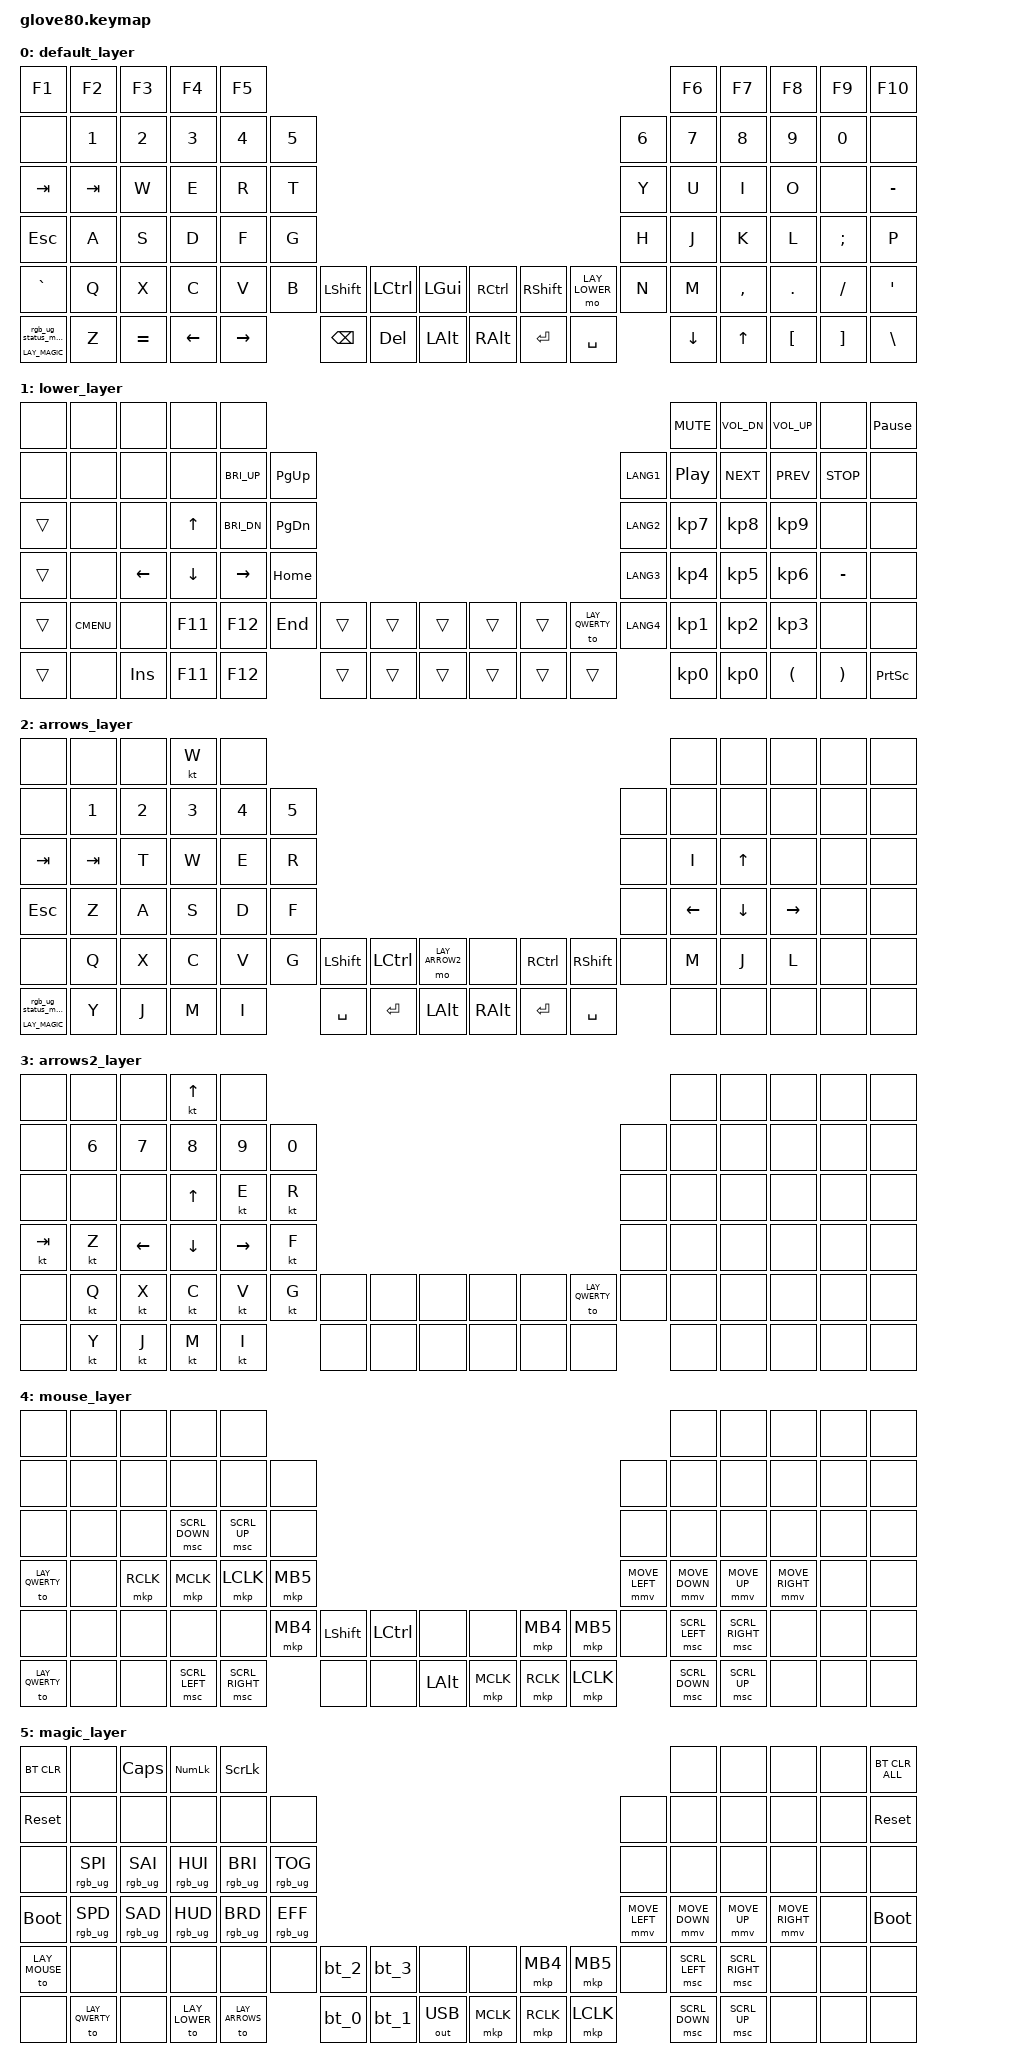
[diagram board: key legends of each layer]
/*
 * Copyright (c) 2020 The ZMK Contributors
 *
 * SPDX-License-Identifier: MIT
 */

#include <behaviors.dtsi>
#include <dt-bindings/zmk/keys.h>
#include <dt-bindings/zmk/bt.h>
#include <dt-bindings/zmk/ext_power.h>
#include <dt-bindings/zmk/outputs.h>
#include <dt-bindings/zmk/rgb.h>

// default: 600
#define ZMK_POINTING_DEFAULT_MOVE_VAL 600
// default: 10
#define ZMK_POINTING_DEFAULT_SCRL_VAL 10
#include <dt-bindings/zmk/pointing.h>

// layers
#define LAY_QWERTY 0
#define LAY_LOWER  1
#define LAY_ARROWS 2
#define LAY_ARROW2 3
#define LAY_MOUSE  4
#define LAY_MAGIC  5

/ {
    behaviors {
        // For the "layer" key, it'd nice to be able to use it as either a shift or a toggle.
        // Configure it as a tap dance, so the first tap (or hold) is a &mo and the second tap is a &to
        layer_td: tap_dance_0 {
            compatible = "zmk,behavior-tap-dance";
            label = "LAYER_TAP_DANCE";
            #binding-cells = <0>;
            tapping-term-ms = <200>;
            bindings = <&mo LAY_LOWER>, <&to LAY_LOWER>;
        };

        magic: magic_hold_tap {
            compatible = "zmk,behavior-hold-tap";
            label = "MAGIC_HOLD_TAP";
            #binding-cells = <2>;
            flavor = "tap-preferred";
            tapping-term-ms = <200>;
            bindings = <&mo>, <&rgb_ug_status_macro>;
        };
    };

    macros {
        rgb_ug_status_macro: rgb_ug_status_macro_0 {
            label = "RGB_UG_STATUS";
            compatible = "zmk,behavior-macro";
            #binding-cells = <0>;
            bindings
                = <&rgb_ug RGB_STATUS>;
        };

        bt_0: bt_profile_macro_0 {
            label = "BT_0";
            compatible = "zmk,behavior-macro";
            #binding-cells = <0>;
            bindings
                = <&out OUT_BLE>,
                  <&bt BT_SEL 0>;
        };

        bt_1: bt_profile_macro_1 {
            label = "BT_1";
            compatible = "zmk,behavior-macro";
            #binding-cells = <0>;
            bindings
                = <&out OUT_BLE>,
                  <&bt BT_SEL 1>;
        };

        bt_2: bt_profile_macro_2 {
            label = "BT_2";
            compatible = "zmk,behavior-macro";
            #binding-cells = <0>;
            bindings
                = <&out OUT_BLE>,
                  <&bt BT_SEL 2>;
        };

        bt_3: bt_profile_macro_3 {
            label = "BT_3";
            compatible = "zmk,behavior-macro";
            #binding-cells = <0>;
            bindings
                = <&out OUT_BLE>,
                  <&bt BT_SEL 3>;
        };
    };

    keymap {
        compatible = "zmk,keymap";

        default_layer {            //default       //default       //default       //default       //default       //default //default //default    | //default //default //default       //default      //default      //default       //default       //default  //default
                //C6L              //C5L           //C4L           //C3L           //C2L           //C1L           //T1L     //T2L     //T3L        | //T3R     //T2R     //T1R           //C1R          //C2R          //C3R           //C4R           //C5R      //C6R
            bindings = <
                &kp F1             &kp F2          &kp F3          &kp F4          &kp F5                                                                                                                &kp F6         &kp F7          &kp F8          &kp F9     &kp F10
                &none              &kp N1          &kp N2          &kp N3          &kp N4          &kp N5                                                                                 &kp N6         &kp N7         &kp N8          &kp N9          &kp N0     &none
                &kp TAB            &kp TAB         &kp W           &kp E           &kp R           &kp T                                                                                  &kp Y          &kp U          &kp I           &kp O           &none      &kp MINUS
                &kp ESC            &kp A           &kp S           &kp D           &kp F           &kp G                                                                                  &kp H          &kp J          &kp K           &kp L           &kp SEMI   &kp P
                &kp GRAVE          &kp Q           &kp X           &kp C           &kp V           &kp B           &kp LSHFT &kp LCTRL &kp LGUI       &kp RCTRL &kp RSHFT &mo LAY_LOWER   &kp N          &kp M          &kp COMMA       &kp DOT         &kp FSLH   &kp SQT 
                &magic LAY_MAGIC 0 &kp Z           &kp EQUAL       &kp LEFT        &kp RIGHT                       &kp BSPC  &kp DEL   &kp LALT       &kp RALT  &kp RET   &kp SPACE                      &kp DOWN       &kp UP          &kp LBKT        &kp RBKT   &kp BSLH
            >;
                //C6L              //C5L           //C4L           //C3L           //C2L           //C1L           //T1L     //T2L     //T3L        | //T3R     //T2R     //T1R           //C1R          //C2R          //C3R           //C4R           //C5R      //C6R
        };                         //default       //default       //default       //default       //default       //default //default //default    | //default //default //default       //default      //default      //default       //default       //default  //default
        lower_layer {              //lower         //lower         //lower         //lower         //lower         //lower   //lower   //lower      | //lower   //lower   //lower         //lower        //lower        //lower         //lower         //lower    //lower
                //C6L              //C5L           //C4L           //C3L           //C2L           //C1L           //T1L     //T2L     //T3L        | //T3R     //T2R     //T1R           //C1R          //C2R          //C3R           //C4R           //C5R      //C6R
            bindings = <
                &none              &none           &none           &none           &none                                                                                                                 &kp C_MUTE     &kp C_VOL_DN    &kp C_VOL_UP    &none      &kp PAUSE_BREAK
                &none              &none           &none           &none           &kp C_BRI_UP    &kp PG_UP                                                                              &kp LANG1      &kp C_PP       &kp C_NEXT      &kp C_PREV      &kp C_STOP &none
                &trans             &none           &none           &kp UP          &kp C_BRI_DN    &kp PG_DN                                                                              &kp LANG2      &kp KP_N7      &kp KP_N8       &kp KP_N9       &none      &none
                &trans             &none           &kp LEFT        &kp DOWN        &kp RIGHT       &kp HOME                                                                               &kp LANG3      &kp KP_N4      &kp KP_N5       &kp KP_N6       &kp MINUS  &none
                &trans             &kp K_CMENU     &none           &kp F11         &kp F12         &kp END         &trans    &trans    &trans         &trans    &trans    &to LAY_QWERTY  &kp LANG4      &kp KP_N1      &kp KP_N2       &kp KP_N3       &none      &none
                &trans             &none           &kp INS         &kp F11         &kp F12                         &trans    &trans    &trans         &trans    &trans    &trans                         &kp KP_N0      &kp KP_N0       &kp LPAR        &kp RPAR   &kp PRINTSCREEN
            >;
                //C6L              //C5L           //C4L           //C3L           //C2L           //C1L           //T1L     //T2L     //T3L        | //T3R     //T2R     //T1R           //C1R          //C2R          //C3R           //C4R           //C5R      //C6R
        };                         //lower         //lower         //lower         //lower         //lower         //lower   //lower   //lower      | //lower   //lower   //lower         //lower        //lower        //lower         //lower         //lower    //lower
        arrows_layer {             //arrows        //arrows        //arrows        //arrows        //arrows        //arrows  //arrows  //arrows     | //arrows  //arrows  //arrows        //arrows       //arrows       //arrows        //arrows        //arrows   //arrows
                //C6L              //C5L           //C4L           //C3L           //C2L           //C1L           //T1L     //T2L     //T3L        | //T3R     //T2R     //T1R           //C1R          //C2R          //C3R           //C4R           //C5R      //C6R
            bindings = <
                &none              &none           &none           &kt W           &none                                                                                                                 &none          &none           &none           &none      &none
                &none              &kp N1          &kp N2          &kp N3          &kp N4          &kp N5                                                                                 &none          &none          &none           &none           &none      &none
                &kp TAB            &kp TAB         &kp T           &kp W           &kp E           &kp R                                                                                  &none          &kp I          &kp UP          &none           &none      &none
                &kp ESC            &kp Z           &kp A           &kp S           &kp D           &kp F                                                                                  &none          &kp LEFT       &kp DOWN        &kp RIGHT       &none      &none
                &none              &kp Q           &kp X           &kp C           &kp V           &kp G           &kp LSHFT &kp LCTRL &mo LAY_ARROW2 &none     &kp RCTRL &kp RSHFT       &none          &kp M          &kp J           &kp L           &none      &none
                &magic LAY_MAGIC 0 &kp Y           &kp J           &kp M           &kp I                           &kp SPACE &kp RET   &kp LALT       &kp RALT  &kp RET   &kp SPACE                      &none          &none           &none           &none      &none
            >;
                //C6L              //C5L           //C4L           //C3L           //C2L           //C1L           //T1L     //T2L     //T3L        | //T3R     //T2R     //T1R           //C1R          //C2R          //C3R           //C4R           //C5R      //C6R
        };                         //arrows        //arrows        //arrows        //arrows        //arrows        //arrows  //arrows  //arrows     | //arrows  //arrows  //arrows        //arrows       //arrows       //arrows        //arrows        //arrows   //arrows
        arrows2_layer {            //arrows2       //arrows2       //arrows2       //arrows2       //arrows2       //arrows2 //arrows2 //arrows2    | //arrows2 //arrows2 //arrows2       //arrows2      //arrows2      //arrows2       //arrows2       //arrows2  //arrows2
                //C6L              //C5L           //C4L           //C3L           //C2L           //C1L           //T1L     //T2L     //T3L        | //T3R     //T2R     //T1R           //C1R          //C2R          //C3R           //C4R           //C5R      //C6R
            bindings = <
                &none              &none           &none           &kt UP          &none                                                                                                                 &none          &none           &none           &none      &none
                &none              &kp N6          &kp N7          &kp N8          &kp N9          &kp N0                                                                                 &none          &none          &none           &none           &none      &none
                &none              &none           &none           &kp UP          &kt E           &kt R                                                                                  &none          &none          &none           &none           &none      &none
                &kt TAB            &kt Z           &kp LEFT        &kp DOWN        &kp RIGHT       &kt F                                                                                  &none          &none          &none           &none           &none      &none
                &none              &kt Q           &kt X           &kt C           &kt V           &kt G           &none     &none     &none          &none     &none     &to LAY_QWERTY  &none          &none          &none           &none           &none      &none
                &none              &kt Y           &kt J           &kt M           &kt I                           &none     &none     &none          &none     &none     &none                          &none          &none           &none           &none      &none
            >;
                //C6L              //C5L           //C4L           //C3L           //C2L           //C1L           //T1L     //T2L     //T3L        | //T3R     //T2R     //T1R           //C1R          //C2R          //C3R           //C4R           //C5R      //C6R
        };                         //arrows2       //arrows2       //arrows2       //arrows2       //arrows2       //arrows2 //arrows2 //arrows2    | //arrows2 //arrows2 //arrows2       //arrows2      //arrows2      //arrows2       //arrows2       //arrows2  //arrows2
        mouse_layer {              //mouse         //mouse         //mouse         //mouse         //mouse         //mouse   //mouse   //mouse      | //mouse   //mouse   //mouse         //mouse        //mouse        //mouse         //mouse         //mouse    //mouse
                //C6L              //C5L           //C4L           //C3L           //C2L           //C1L           //T1L     //T2L     //T3L        | //T3R     //T2R     //T1R           //C1R          //C2R          //C3R           //C4R           //C5R      //C6R
            bindings = <
                &none              &none           &none           &none           &none                                                                                                                 &none          &none           &none           &none      &none
                &none              &none           &none           &none           &none           &none                                                                                  &none          &none          &none           &none           &none      &none
                &none              &none           &none           &msc SCRL_DOWN  &msc SCRL_UP    &none                                                                                  &none          &none          &none           &none           &none      &none
                &to LAY_QWERTY     &none           &mkp RCLK       &mkp MCLK       &mkp LCLK       &mkp MB5                                                                               &mmv MOVE_LEFT &mmv MOVE_DOWN &mmv MOVE_UP    &mmv MOVE_RIGHT &none      &none
                &none              &none           &none           &none           &none           &mkp MB4        &kp LSHFT &kp LCTRL &none          &none     &mkp MB4  &mkp MB5        &none          &msc SCRL_LEFT &msc SCRL_RIGHT &none           &none      &none
                &to LAY_QWERTY     &none           &none           &msc SCRL_LEFT  &msc SCRL_RIGHT                 &none     &none     &kp LALT       &mkp MCLK &mkp RCLK &mkp LCLK                      &msc SCRL_DOWN &msc SCRL_UP    &none           &none      &none
            >;
                //C6L              //C5L           //C4L           //C3L           //C2L           //C1L           //T1L     //T2L     //T3L        | //T3R     //T2R     //T1R           //C1R          //C2R          //C3R           //C4R           //C5R      //C6R
        };                         //mouse         //mouse         //mouse         //mouse         //mouse         //mouse   //mouse   //mouse      | //mouse   //mouse   //mouse         //mouse        //mouse        //mouse         //mouse         //mouse    //mouse
        magic_layer {              //magic         //magic         //magic         //magic         //magic         //magic   //magic   //magic      | //magic   //magic   //magic         //magic        //magic        //magic         //magic         //magic    //magic
                //C6L              //C5L           //C4L           //C3L           //C2L           //C1L           //T1L     //T2L     //T3L        | //T3R     //T2R     //T1R           //C1R          //C2R          //C3R           //C4R           //C5R      //C6R
            bindings = <
                &bt BT_CLR         &none           &kp CAPSLOCK    &kp KP_NUMLOCK  &kp SCROLLLOCK                                                                                                        &none          &none           &none           &none      &bt BT_CLR_ALL
                &sys_reset         &none           &none           &none           &none           &none                                                                                  &none          &none          &none           &none           &none      &sys_reset
                &none              &rgb_ug RGB_SPI &rgb_ug RGB_SAI &rgb_ug RGB_HUI &rgb_ug RGB_BRI &rgb_ug RGB_TOG                                                                        &none          &none          &none           &none           &none      &none
                &bootloader        &rgb_ug RGB_SPD &rgb_ug RGB_SAD &rgb_ug RGB_HUD &rgb_ug RGB_BRD &rgb_ug RGB_EFF                                                                        &mmv MOVE_LEFT &mmv MOVE_DOWN &mmv MOVE_UP    &mmv MOVE_RIGHT &none      &bootloader
                &to LAY_MOUSE      &none           &none           &none           &none           &none           &bt_2      &bt_3    &none          &none     &mkp MB4  &mkp MB5        &none          &msc SCRL_LEFT &msc SCRL_RIGHT &none           &none      &none
                &none              &to LAY_QWERTY  &none           &to LAY_LOWER   &to LAY_ARROWS                  &bt_0      &bt_1    &out OUT_USB   &mkp MCLK &mkp RCLK &mkp LCLK                      &msc SCRL_DOWN &msc SCRL_UP    &none           &none      &none
            >;
                //C6L              //C5L           //C4L           //C3L           //C2L           //C1L           //T1L     //T2L     //T3L        | //T3R     //T2R     //T1R           //C1R          //C2R          //C3R           //C4R           //C5R      //C6R
        };                         //magic         //magic         //magic         //magic         //magic         //magic   //magic   //magic      | //magic   //magic   //magic         //magic        //magic        //magic         //magic         //magic    //magic
//      empty_layer {              //empty         //empty         //empty         //empty         //empty         //empty   //empty   //empty      | //empty   //empty   //empty         //empty        //empty        //empty         //empty         //empty    //empty
//              //C6L              //C5L           //C4L           //C3L           //C2L           //C1L           //T1L     //T2L     //T3L        | //T3R     //T2R     //T1R           //C1R          //C2R          //C3R           //C4R           //C5R      //C6R
//          bindings = <
//              &none              &none           &none           &none           &none                                                                                                                 &none          &none           &none           &none      &none
//              &none              &none           &none           &none           &none           &none                                                                                  &none          &none          &none           &none           &none      &none
//              &none              &none           &none           &none           &none           &none                                                                                  &none          &none          &none           &none           &none      &none
//              &none              &none           &none           &none           &none           &none                                                                                  &none          &none          &none           &none           &none      &none
//              &none              &none           &none           &none           &none           &none           &none      &none    &none          &none     &none     &to LAY_QWERTY  &none          &none          &none           &none           &none      &none
//              &none              &none           &none           &none           &none                           &none      &none    &none          &none     &none     &none                          &none          &none           &none           &none      &none
//          >;
//              //C6L              //C5L           //C4L           //C3L           //C2L           //C1L           //T1L     //T2L     //T3L        | //T3R     //T2R     //T1R           //C1R          //C2R          //C3R           //C4R           //C5R      //C6R
//      };                         //empty         //empty         //empty         //empty         //empty         //empty   //empty   //empty      | //empty   //empty   //empty         //empty        //empty        //empty         //empty         //empty    //empty
    };
};
